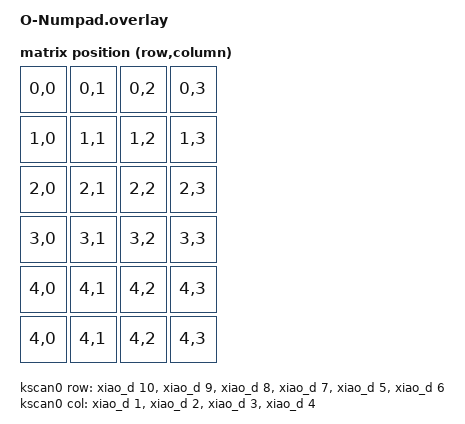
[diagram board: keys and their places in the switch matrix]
#include <dt-bindings/zmk/matrix_transform.h> // Put this with the other includes at the top of your overlay

/ {
    default_transform: keymap_transform0 {
        compatible = "zmk,matrix-transform";
        columns = <4>; // Length of the "col-gpios" array
        rows = <6>; // Length of the "row-gpios" array
        map = <
        //   Key 1 | Key 2 | Key 3 | Key 4
            RC(0,0) RC(0,1) RC(0,2) RC(0,3)
        //   Key 5 | Key 6 | Key 7 | Key 8
            RC(1,0) RC(1,1) RC(1,2) RC(1,3)
        //   Key 9 | Key 10 | Key 11 | Key 12
            RC(2,0) RC(2,1) RC(2,2) RC(2,3)
        //   Key 13 | Key 14 | Key 15 | Key 16
            RC(3,0) RC(3,1) RC(3,2) RC(3,3)
        //   Key 17 | Key 18 | Key 19 | Key 20
            RC(4,0) RC(4,1) RC(4,2) RC(4,3)
        //   Key 21 | Key 22 | Key 23 | Key 24
            RC(4,0) RC(4,1) RC(4,2) RC(4,3)
        >;
    };
};
/ {
    kscan0: kscan0 {
        compatible = "zmk,kscan-gpio-matrix";
        diode-direction = "col2row";
        wakeup-source;

        col-gpios
            = <&xiao_d 1 GPIO_ACTIVE_HIGH>
            , <&xiao_d 2 GPIO_ACTIVE_HIGH>
            , <&xiao_d 3 GPIO_ACTIVE_HIGH>
	    , <&xiao_d 4 GPIO_ACTIVE_HIGH>
            ;

        row-gpios
            = <&xiao_d 10 (GPIO_ACTIVE_HIGH | GPIO_PULL_DOWN)>
            , <&xiao_d 9 (GPIO_ACTIVE_HIGH | GPIO_PULL_DOWN)>
            , <&xiao_d 8 (GPIO_ACTIVE_HIGH | GPIO_PULL_DOWN)>
            , <&xiao_d 7 (GPIO_ACTIVE_HIGH | GPIO_PULL_DOWN)>
            , <&xiao_d 5 (GPIO_ACTIVE_HIGH | GPIO_PULL_DOWN)>
            , <&xiao_d 6 (GPIO_ACTIVE_HIGH | GPIO_PULL_DOWN)>
            ;
    };
};
/ {
    physical_layout0: physical_layout_0 { // First physical layout, use different naming for other layouts
        compatible = "zmk,physical-layout";
        display-name = "Default Layout";
        kscan = <&kscan0>; // Label of the kscan node, optional if all layouts use the same
        transform = <&default_transform>; // Label of the matrix transform for this layout
    };
};
/ {
    chosen {
        zmk,physical-layout = &physical_layout0;
        // Other chosen items
    };
};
